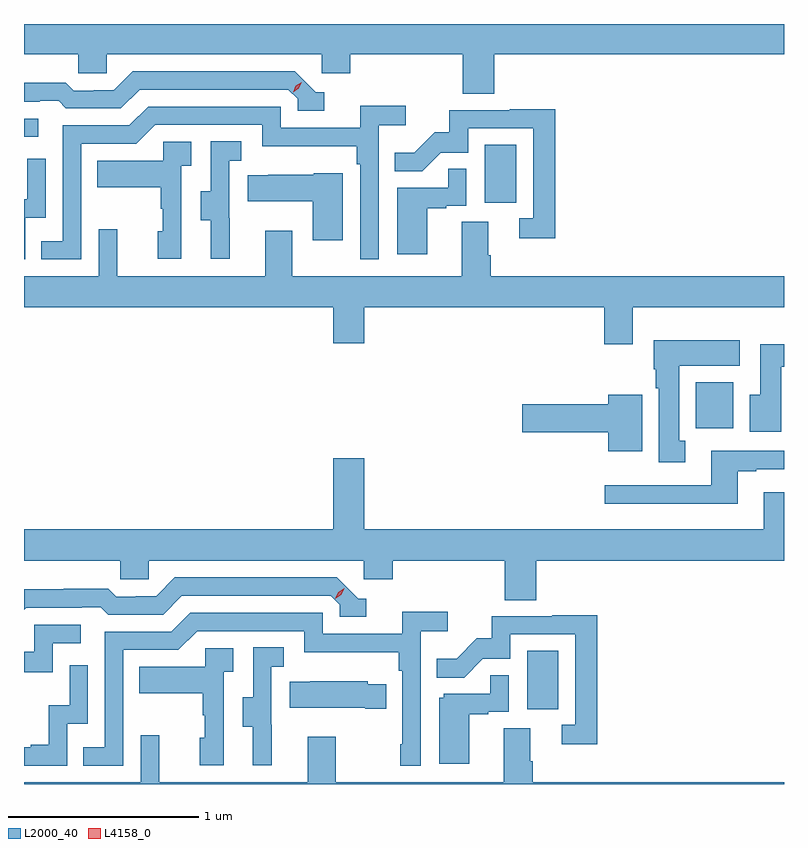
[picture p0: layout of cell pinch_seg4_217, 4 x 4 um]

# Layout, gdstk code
import gdstk
lib = gdstk.Library(unit=1e-6, precision=1e-09)
def R(c, l, rs):  # rectangles x0, y0, x1, y1
    for r in rs: c.add(gdstk.rectangle(r[:2], r[2:], *l))
def P(c, l, *ps):  # polygons
    for p in ps: c.add(gdstk.Polygon(p, *l))
L2000_40 = (2000, 40)
L4158_0 = (4158, 0)

pinch_seg4_217 = lib.new_cell('pinch_seg4_217')
R(pinch_seg4_217, L2000_40, [(1005.188,825.342,1005.352,825.649), (1006.076,826.82,1006.273,827.062), (1004.966,828.006,1005.13,828.313), (1002.54,828.354,1002.616,828.45)])
P(pinch_seg4_217, L2000_40, [(1002.54,828.788),(1002.825,828.788),(1002.825,828.69),(1002.975,828.69),(1002.975,828.788),(1004.106,828.788),(1004.106,828.69),(1004.258,828.69),(1004.258,828.788),(1004.849,828.788),(1004.849,828.58),(1005.014,828.58),(1005.014,828.788),(1006.54,828.788),(1006.54,828.948),(1002.54,828.948)],
  [(1004.119,828.588),(1004.076,828.588),(1003.965,828.699),(1003.112,828.699),(1003.013,828.6),(1002.906,828.6),(1002.906,828.597),(1002.803,828.597),(1002.761,828.64),(1002.54,828.64),(1002.54,828.54),(1002.623,828.54),(1002.623,828.543),(1002.722,828.543),(1002.761,828.504),(1003.05,828.504),(1003.149,828.603),(1003.932,828.603),(1003.98,828.555),(1003.98,828.492),(1004.119,828.492)],
  [(1002.84,828.318),(1003.131,828.318),(1003.23,828.417),(1003.794,828.417),(1003.794,828.305),(1004.29,828.305),(1004.29,828.209),(1004.31,828.209),(1004.31,827.709),(1004.406,827.709),(1004.406,828.416),(1004.548,828.416),(1004.548,828.518),(1004.309,828.518),(1004.309,828.402),(1003.89,828.402),(1003.89,828.513),(1003.193,828.513),(1003.094,828.414),(1002.744,828.414),(1002.744,827.805),(1002.631,827.805),(1002.631,827.709),(1002.84,827.709)],
  [(1005.335,828.5),(1005.097,828.5),(1005.097,828.495),(1004.779,828.495),(1004.779,828.378),(1004.702,828.378),(1004.595,828.271),(1004.491,828.271),(1004.491,828.172),(1004.635,828.172),(1004.733,828.27),(1004.877,828.27),(1004.877,828.399),(1005.219,828.399),(1005.219,827.925),(1005.147,827.925),(1005.147,827.82),(1005.335,827.82)],
  [(1003.622,827.925),(1003.62,827.925),(1003.62,828.229),(1003.684,828.229),(1003.684,828.332),(1003.524,828.332),(1003.524,828.069),(1003.469,828.069),(1003.469,827.914),(1003.523,827.914),(1003.523,827.712),(1003.622,827.712)],
  [(1003.368,828.203),(1003.42,828.203),(1003.42,828.327),(1003.272,828.327),(1003.272,828.229),(1002.925,828.229),(1002.925,828.089),(1003.26,828.089),(1003.26,827.975),(1003.27,827.975),(1003.27,827.856),(1003.244,827.856),(1003.244,827.712),(1003.368,827.712)],
  [(1002.546,827.928),(1002.654,827.928),(1002.654,828.238),(1002.558,828.238),(1002.558,828.026),(1002.54,828.026),(1002.54,827.709),(1002.546,827.709)],
  [(1004.662,827.979),(1004.762,827.979),(1004.762,827.991),(1004.868,827.991),(1004.868,828.185),(1004.773,828.185),(1004.773,828.087),(1004.504,828.087),(1004.504,827.736),(1004.662,827.736)],
  [(1004.218,828.163),(1004.064,828.163),(1004.064,828.154),(1003.825,828.154),(1003.825,828.151),(1003.717,828.151),(1003.717,828.014),(1004.06,828.014),(1004.06,827.811),(1004.218,827.811)],
  [(1005.745,827.456),(1006.54,827.456),(1006.54,827.62),(1004.996,827.62),(1004.996,827.732),(1004.983,827.732),(1004.983,827.906),(1004.843,827.906),(1004.843,827.62),(1003.951,827.62),(1003.951,827.86),(1003.811,827.86),(1003.811,827.62),(1003.031,827.62),(1003.031,827.869),(1002.933,827.869),(1002.933,827.62),(1002.54,827.62),(1002.54,827.456),(1004.168,827.456),(1004.168,827.268),(1004.332,827.268),(1004.332,827.456),(1005.593,827.456),(1005.593,827.262),(1005.745,827.262)],
  [(1006.021,826.754),(1005.988,826.754),(1005.988,827.15),(1006.306,827.15),(1006.306,827.284),(1005.854,827.284),(1005.854,827.13),(1005.866,827.13),(1005.866,827.03),(1005.881,827.03),(1005.881,826.641),(1006.021,826.641)],
  [(1006.525,827.144),(1006.54,827.144),(1006.54,827.263),(1006.415,827.263),(1006.415,826.996),(1006.361,826.996),(1006.361,826.803),(1006.525,826.803)],
  [(1005.793,826.996),(1005.614,826.996),(1005.614,826.946),(1005.162,826.946),(1005.162,826.799),(1005.614,826.799),(1005.614,826.7),(1005.793,826.7)],
  [(1006.297,826.593),(1006.393,826.593),(1006.393,826.605),(1006.54,826.605),(1006.54,826.701),(1006.157,826.701),(1006.157,826.521),(1005.597,826.521),(1005.597,826.424),(1006.297,826.424)],
  [(1005.236,826.124),(1006.54,826.124),(1006.54,826.483),(1006.433,826.483),(1006.433,826.288),(1004.332,826.288),(1004.332,826.663),(1004.168,826.663),(1004.168,826.288),(1002.54,826.288),(1002.54,826.124),(1003.047,826.124),(1003.047,826.026),(1003.197,826.026),(1003.197,826.124),(1004.328,826.124),(1004.328,826.026),(1004.48,826.026),(1004.48,826.124),(1005.071,826.124),(1005.071,825.916),(1005.236,825.916)],
  [(1004.341,825.924),(1004.298,825.924),(1004.187,826.035),(1003.334,826.035),(1003.235,825.936),(1003.128,825.936),(1003.128,825.933),(1003.025,825.933),(1002.983,825.976),(1002.75,825.976),(1002.75,825.973),(1002.54,825.973),(1002.54,825.864),(1002.552,825.876),(1002.845,825.876),(1002.845,825.879),(1002.944,825.879),(1002.983,825.84),(1003.272,825.84),(1003.371,825.939),(1004.154,825.939),(1004.202,825.891),(1004.202,825.828),(1004.341,825.828)],
  [(1003.062,825.654),(1003.353,825.654),(1003.452,825.753),(1004.016,825.753),(1004.016,825.641),(1004.512,825.641),(1004.512,825.545),(1004.532,825.545),(1004.532,825.157),(1004.52,825.157),(1004.52,825.045),(1004.628,825.045),(1004.628,825.752),(1004.77,825.752),(1004.77,825.854),(1004.531,825.854),(1004.531,825.738),(1004.112,825.738),(1004.112,825.849),(1003.415,825.849),(1003.316,825.75),(1002.966,825.75),(1002.966,825.141),(1002.853,825.141),(1002.853,825.045),(1003.062,825.045)],
  [(1005.557,825.836),(1005.319,825.836),(1005.319,825.831),(1005.001,825.831),(1005.001,825.714),(1004.924,825.714),(1004.817,825.607),(1004.713,825.607),(1004.713,825.508),(1004.857,825.508),(1004.955,825.606),(1005.099,825.606),(1005.099,825.735),(1005.441,825.735),(1005.441,825.261),(1005.369,825.261),(1005.369,825.156),(1005.557,825.156)],
  [(1002.69,825.69),(1002.838,825.69),(1002.838,825.786),(1002.594,825.786),(1002.594,825.645),(1002.54,825.645),(1002.54,825.537),(1002.69,825.537)],
  [(1003.844,825.261),(1003.842,825.261),(1003.842,825.565),(1003.906,825.565),(1003.906,825.668),(1003.746,825.668),(1003.746,825.405),(1003.691,825.405),(1003.691,825.25),(1003.745,825.25),(1003.745,825.048),(1003.844,825.048)],
  [(1003.59,825.539),(1003.642,825.539),(1003.642,825.663),(1003.494,825.663),(1003.494,825.565),(1003.147,825.565),(1003.147,825.425),(1003.482,825.425),(1003.482,825.311),(1003.492,825.311),(1003.492,825.192),(1003.466,825.192),(1003.466,825.048),(1003.59,825.048)],
  [(1002.768,825.264),(1002.876,825.264),(1002.876,825.574),(1002.78,825.574),(1002.78,825.362),(1002.671,825.362),(1002.671,825.154),(1002.575,825.154),(1002.575,825.141),(1002.54,825.141),(1002.54,825.045),(1002.768,825.045)],
  [(1004.884,825.315),(1004.984,825.315),(1004.984,825.327),(1005.09,825.327),(1005.09,825.521),(1004.995,825.521),(1004.995,825.423),(1004.748,825.423),(1004.748,825.402),(1004.726,825.402),(1004.726,825.054),(1004.884,825.054)],
  [(1004.447,825.472),(1004.349,825.472),(1004.349,825.49),(1004.047,825.49),(1004.047,825.487),(1003.939,825.487),(1003.939,825.35),(1004.336,825.35),(1004.336,825.343),(1004.447,825.343)],
  [(1006.54,824.956),(1005.218,824.956),(1005.218,825.068),(1005.205,825.068),(1005.205,825.242),(1005.065,825.242),(1005.065,824.956),(1004.181,824.956),(1004.181,825.196),(1004.033,825.196),(1004.033,824.956),(1003.253,824.956),(1003.253,825.205),(1003.155,825.205),(1003.155,824.956),(1002.54,824.956),(1002.54,824.948),(1006.54,824.948)])
P(pinch_seg4_217, L4158_0, [(1004.179,825.924),(1004.179,825.925),(1004.195,825.957),(1004.225,825.977),(1004.225,825.977),(1004.225,825.977),(1004.21,825.944),(1004.179,825.924)],
  [(1003.956,828.589),(1003.956,828.59),(1003.971,828.622),(1004.002,828.642),(1004.002,828.642),(1004.002,828.642),(1003.986,828.609),(1003.956,828.589)])

lib.write_gds('pinch_seg4_217.gds')
